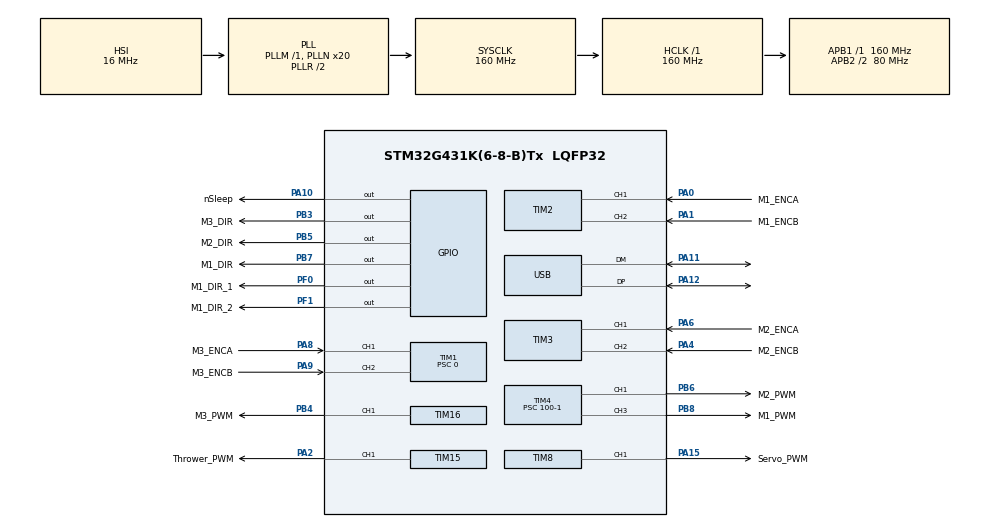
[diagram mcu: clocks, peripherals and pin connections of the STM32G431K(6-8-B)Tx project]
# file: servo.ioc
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Dma.Request0=TIM15_CH1
Dma.TIM15_CH1.0.Direction=DMA_MEMORY_TO_PERIPH
Dma.TIM15_CH1.0.EventEnable=DISABLE
Dma.TIM15_CH1.0.Instance=DMA1_Channel1
Dma.TIM15_CH1.0.MemDataAlignment=DMA_MDATAALIGN_WORD
Dma.TIM15_CH1.0.MemInc=DMA_MINC_ENABLE
Dma.TIM15_CH1.0.Mode=DMA_CIRCULAR
Dma.TIM15_CH1.0.PeriphDataAlignment=DMA_PDATAALIGN_WORD
Dma.TIM15_CH1.0.PeriphInc=DMA_PINC_DISABLE
Dma.TIM15_CH1.0.Polarity=HAL_DMAMUX_REQ_GEN_RISING
Dma.TIM15_CH1.0.Priority=DMA_PRIORITY_HIGH
Dma.TIM15_CH1.0.RequestNumber=1
Dma.TIM15_CH1.0.SignalID=NONE
Dma.TIM15_CH1.0.SyncEnable=DISABLE
Dma.TIM15_CH1.0.SyncPolarity=HAL_DMAMUX_SYNC_NO_EVENT
Dma.TIM15_CH1.0.SyncRequestNumber=1
Dma.TIM15_CH1.0.SyncSignalID=NONE
Mcu.Family=STM32G4
Mcu.Name=STM32G431K(6-8-B)Tx
Mcu.Package=LQFP32
NVIC.DMA1_Channel1_IRQn=true\:0\:0\:false\:false\:true\:false\:true\:true
NVIC.PriorityGroup=NVIC_PRIORITYGROUP_4
NVIC.TIM6_DAC_IRQn=true\:0\:0\:false\:false\:true\:true\:true\:true
NVIC.USB_LP_IRQn=true\:0\:0\:false\:false\:true\:false\:true\:true
PA0.GPIO_Label=M1_ENCA
PA0.Signal=S_TIM2_CH1
PA1.GPIO_Label=M1_ENCB
PA1.Signal=S_TIM2_CH2
PA10.GPIO_Label=nSleep
PA10.Signal=GPIO_Output
PA11.Mode=Device
PA11.Signal=USB_DM
PA12.Mode=Device
PA12.Signal=USB_DP
PA13.GPIO_Label=T_SWDIO
PA13.Mode=Serial_Wire
PA13.Signal=SYS_JTMS-SWDIO
PA14.GPIO_Label=T_SWCLK
PA14.Mode=Serial_Wire
PA14.Signal=SYS_JTCK-SWCLK
PA15.GPIO_Label=Servo_PWM
PA15.Signal=S_TIM8_CH1
PA2.GPIO_Label=Thrower_PWM
PA2.Signal=S_TIM15_CH1
PA4.GPIO_Label=M2_ENCB
PA4.Signal=S_TIM3_CH2
PA6.GPIO_Label=M2_ENCA
PA6.Signal=S_TIM3_CH1
PA8.GPIO_Label=M3_ENCA
PA8.Signal=S_TIM1_CH1
PA9.GPIO_Label=M3_ENCB
PA9.Signal=S_TIM1_CH2
PB3.GPIO_Label=M3_DIR
PB3.Signal=GPIO_Output
PB4.GPIO_Label=M3_PWM
PB4.Signal=S_TIM16_CH1
PB5.GPIO_Label=M2_DIR
PB5.Signal=GPIO_Output
PB6.GPIO_Label=M2_PWM
PB6.Signal=S_TIM4_CH1
PB7.GPIO_Label=M1_DIR
PB7.Signal=GPIO_Output
PB8-BOOT0.GPIO_Label=M1_PWM
PB8-BOOT0.Signal=S_TIM4_CH3
PF0-OSC_IN.GPIO_Label=M1_DIR_1
PF0-OSC_IN.Signal=GPIO_Output
PF1-OSC_OUT.GPIO_Label=M1_DIR_2
PF1-OSC_OUT.Signal=GPIO_Output
ProjectManager.HeapSize=0x200
ProjectManager.StackSize=0x400
ProjectManager.TargetToolchain=STM32CubeIDE
RCC.ADC12Freq_Value=160000000
RCC.AHBFreq_Value=160000000
RCC.APB1Freq_Value=160000000
RCC.APB1TimFreq_Value=160000000
RCC.APB2CLKDivider=RCC_HCLK_DIV2
RCC.APB2Freq_Value=80000000
RCC.APB2TimFreq_Value=160000000
RCC.CK48CLockSelection=RCC_USBCLKSOURCE_HSI48
RCC.CortexFreq_Value=160000000
RCC.EXTERNAL_CLOCK_VALUE=12288000
RCC.HCLKFreq_Value=160000000
RCC.HSE_VALUE=8000000
RCC.HSI48_VALUE=48000000
RCC.HSI_VALUE=16000000
RCC.LSE_VALUE=32768
RCC.PLLN=20
RCC.PLLQ=RCC_PLLQ_DIV4
RCC.SYSCLKFreq_VALUE=160000000
RCC.SYSCLKSource=RCC_SYSCLKSOURCE_PLLCLK
RCC.USBFreq_Value=48000000
RCC.VCOOutputFreq_Value=320000000
SH.S_TIM15_CH1.0=TIM15_CH1,PWM Generation1 CH1
SH.S_TIM16_CH1.0=TIM16_CH1,PWM Generation1 CH1
SH.S_TIM1_CH1.0=TIM1_CH1,Encoder_Interface
SH.S_TIM1_CH2.0=TIM1_CH2,Encoder_Interface
SH.S_TIM2_CH1.0=TIM2_CH1,Encoder_Interface
SH.S_TIM2_CH2.0=TIM2_CH2,Encoder_Interface
SH.S_TIM3_CH1.0=TIM3_CH1,Encoder_Interface
SH.S_TIM3_CH2.0=TIM3_CH2,Encoder_Interface
SH.S_TIM4_CH1.0=TIM4_CH1,PWM Generation1 CH1
SH.S_TIM4_CH3.0=TIM4_CH3,PWM Generation3 CH3
SH.S_TIM8_CH1.0=TIM8_CH1,PWM Generation1 CH1
TIM1.EncoderMode=TIM_ENCODERMODE_TI12
TIM1.Prescaler=0
TIM15.Channel-PWM\ Generation1\ CH1=TIM_CHANNEL_1
TIM15.PeriodNoDither=100-1
TIM15.Prescaler=10-1
TIM16.Channel=TIM_CHANNEL_1
TIM16.PeriodNoDither=100
TIM16.Prescaler=100-1
TIM2.EncoderMode=TIM_ENCODERMODE_TI12
TIM3.EncoderMode=TIM_ENCODERMODE_TI12
TIM4.Channel-PWM\ Generation1\ CH1=TIM_CHANNEL_1
TIM4.Channel-PWM\ Generation3\ CH3=TIM_CHANNEL_3
TIM4.PeriodNoDither=100
TIM4.Prescaler=100-1
TIM6.AutoReloadPreload=TIM_AUTORELOAD_PRELOAD_ENABLE
TIM6.PeriodNoDither=1000
TIM6.Prescaler=32000
TIM6.TIM_MasterOutputTrigger=TIM_TRGO_RESET
TIM8.Channel-PWM\ Generation1\ CH1=TIM_CHANNEL_1
TIM8.PeriodNoDither=100-1
TIM8.Prescaler=10-1
USB_DEVICE.CLASS_NAME_FS=CUSTOM_HID
USB_DEVICE.USBD_CUSTOMHID_OUTREPORT_BUF_SIZE=64
USB_DEVICE.USBD_CUSTOM_HID_REPORT_DESC_SIZE=43
USB_DEVICE.VirtualMode=CustomHid
USB_DEVICE.VirtualModeFS=Custom_Hid_FS
VP_TIM16_VS_ClockSourceINT.Mode=Enable_Timer
VP_TIM6_VS_ClockSourceINT.Mode=Enable_Timer
VP_USB_DEVICE_VS_USB_DEVICE_CUSTOM_HID_FS.Mode=CUSTOM_HID_FS
board=NUCLEO-G431KB

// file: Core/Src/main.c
/* USER CODE BEGIN Header */
/**
  ******************************************************************************
  * @file           : main.c
  * @brief          : Main program body
  ******************************************************************************
  * @attention
  *
  * Copyright (c) 2022 STMicroelectronics.
  * All rights reserved.
  *
  * This software is licensed under terms that can be found in the LICENSE file
  * in the root directory of this software component.
  * If no LICENSE file comes with this software, it is provided AS-IS.
  *
  ******************************************************************************
  */
/* USER CODE END Header */
#include "main.h"

/* USER CODE BEGIN Includes */
#include "PID.h"
/* USER CODE END Includes */

/* USER CODE BEGIN PTD */
#ifdef DEBUG
struct Data {
    int8_t A, B, C, D;
};
struct DataA {
    int8_t addr;
    int32_t A, B, C;
};
#endif

typedef struct MotorTypeDef{
    TIM_HandleTypeDef* timer;
    TIM_HandleTypeDef* encoder;
    int32_t timerChanel;
    int32_t dirPin;
} Motor;
/* USER CODE END PTD */

TIM_HandleTypeDef htim1;
TIM_HandleTypeDef htim2;
TIM_HandleTypeDef htim3;
TIM_HandleTypeDef htim4;
TIM_HandleTypeDef htim6;
TIM_HandleTypeDef htim8;
TIM_HandleTypeDef htim15;
TIM_HandleTypeDef htim16;
DMA_HandleTypeDef hdma_tim15_ch1;

/* USER CODE BEGIN PV */
volatile uint16_t DT = 0;
volatile int8_t motor_new = 0;
volatile int8_t motorSpeeds[3];

extern USBD_HandleTypeDef hUsbDeviceFS;

PIDConfig config = {4000, 100, 0, -UINT16_MAX, UINT16_MAX};
PIDState states[3] = {{.config=&config}, {.config=&config}, {.config=&config}};

uint32_t motor[DSHOT_FRAME_SIZE];// duty cycles array
Motor motors[3] = {
        {&htim4,  &htim2, TIM_CHANNEL_3, M1_DIR_Pin},
        {&htim4,  &htim1, TIM_CHANNEL_1, M2_DIR_Pin},
        {&htim16, &htim3, TIM_CHANNEL_1, M3_DIR_Pin}
};

int32_t dc[3];
int16_t enc_val_prev[3];
/* USER CODE END PV */

void SystemClock_Config(void);
static void MX_GPIO_Init(void);
static void MX_DMA_Init(void);
static void MX_TIM1_Init(void);
static void MX_TIM2_Init(void);
static void MX_TIM16_Init(void);
static void MX_TIM3_Init(void);
static void MX_TIM4_Init(void);
static void MX_TIM8_Init(void);
static void MX_TIM6_Init(void);
static void MX_TIM15_Init(void);
/* USER CODE BEGIN PFP */

void HAL_TIM_PeriodElapsedCallback(TIM_HandleTypeDef *htim) {
    if(htim == &htim6) {
        for(char i = 0; i < 3; i++) {
            int16_t counts_now = (int16_t)motors[i].encoder->Instance->CNT;
            dc[i] = counts_now - enc_val_prev[i];
            enc_val_prev[i] = counts_now;
            updatePIDState(&states[i], dc[i], motorSpeeds[i]);

            int32_t control = calculateOutput(&states[i]);

            __HAL_TIM_SET_COMPARE(motors[i].timer, motors[i].timerChanel, abs(control));
            HAL_GPIO_WritePin(GPIOB, motors[i].dirPin,control<0);
        }
    }
}
uint32_t DWT_Delay_Init(void)
{
    /* Disable TRC */
    CoreDebug->DEMCR &= ~CoreDebug_DEMCR_TRCENA_Msk; // ~0x01000000;
    /* Enable TRC */
    CoreDebug->DEMCR |=  CoreDebug_DEMCR_TRCENA_Msk; // 0x01000000;

    /* Disable clock cycle counter */
    DWT->CTRL &= ~DWT_CTRL_CYCCNTENA_Msk; //~0x00000001;
    /* Enable  clock cycle counter */
    DWT->CTRL |=  DWT_CTRL_CYCCNTENA_Msk; //0x00000001;

    /* Reset the clock cycle counter value */
    DWT->CYCCNT = 0;

    /* 3 NO OPERATION instructions */
    __ASM volatile ("NOP");
    __ASM volatile ("NOP");
    __ASM volatile ("NOP");

    /* Check if clock cycle counter has started */
    if(DWT->CYCCNT)
    {
        return 0; /*clock cycle counter started*/
    }
    else
    {
        return 1; /*clock cycle counter not started*/
    }
}
__STATIC_INLINE void DWT_Delay_us(volatile uint32_t au32_microseconds)
{
    uint32_t au32_initial_ticks = DWT->CYCCNT;
    uint32_t au32_ticks = (HAL_RCC_GetHCLKFreq() / 1000000);
    au32_microseconds *= au32_ticks;
    while ((DWT->CYCCNT - au32_initial_ticks) < au32_microseconds-au32_ticks);
}
/* USER CODE END PFP */

/* USER CODE BEGIN 0 */

//extern volatile uint16_t DT;
/* USER CODE END 0 */

int main(void)
{

  /* MCU Configuration--------------------------------------------------------*/

  /* Reset of all peripherals, Initializes the Flash interface and the Systick. */
  HAL_Init();

  /* Configure the system clock */
  SystemClock_Config();

  /* Initialize all configured peripherals */
  MX_GPIO_Init();
  MX_DMA_Init();
  MX_TIM1_Init();
  MX_USB_Device_Init();
  MX_TIM2_Init();
  MX_TIM16_Init();
  MX_TIM3_Init();
  MX_TIM4_Init();
  MX_TIM8_Init();
  MX_TIM6_Init();
  MX_TIM15_Init();

  /* Infinite loop */
  /* USER CODE BEGIN WHILE */

    DWT_Delay_Init();

    //Start for thrower 0 data for 2s to start ESC
    dshot600(motor, 0);
    HAL_TIM_PWM_Start_DMA(&htim15, TIM_CHANNEL_1, motor, DSHOT_FRAME_SIZE);
    HAL_Delay(2000);
    dshot600(motor, 100); //Set speed to 100 do disable sleep
    HAL_Delay(1000);

    HAL_TIM_Encoder_Start(&htim1, TIM_CHANNEL_ALL);
    HAL_TIM_Encoder_Start(&htim2, TIM_CHANNEL_ALL);
    HAL_TIM_Encoder_Start(&htim3, TIM_CHANNEL_ALL);

    HAL_GPIO_WritePin(nSleep_GPIO_Port, nSleep_Pin, 1);

    HAL_TIM_PWM_Start(&htim4, TIM_CHANNEL_3);
    HAL_TIM_PWM_Start(&htim4, TIM_CHANNEL_1);
    HAL_TIM_PWM_Start(&htim16, TIM_CHANNEL_1);

    __HAL_TIM_SET_COMPARE(&htim4, TIM_CHANNEL_3, 0);
    __HAL_TIM_SET_COMPARE(&htim4, TIM_CHANNEL_1, 0);
    __HAL_TIM_SET_COMPARE(&htim16, TIM_CHANNEL_1, 0);

    HAL_TIM_Base_Start_IT(&htim6);

#pragma clang diagnostic push
#pragma ide diagnostic ignored "EndlessLoop"
    while (1) {
        if (DT != 0) {
            dshot600(motor, DT);
            HAL_TIM_PWM_Start_DMA(&htim15, TIM_CHANNEL_1, motor, DSHOT_FRAME_SIZE);
            DT = 0;
            HAL_Delay(100);
        }
        if(motor_new){
            motor_new = 0;
            HAL_GPIO_WritePin(nSleep_GPIO_Port, nSleep_Pin, 0);
            DWT_Delay_us(30);
            HAL_GPIO_WritePin(nSleep_GPIO_Port, nSleep_Pin, 1);
        }
    /* USER CODE END WHILE */

    /* USER CODE BEGIN 3 */
    }
#pragma clang diagnostic pop
  /* USER CODE END 3 */
}

void SystemClock_Config(void)
{
  RCC_OscInitTypeDef RCC_OscInitStruct = {0};
  RCC_ClkInitTypeDef RCC_ClkInitStruct = {0};

  /** Configure the main internal regulator output voltage
  */
  HAL_PWREx_ControlVoltageScaling(PWR_REGULATOR_VOLTAGE_SCALE1_BOOST);

  /** Initializes the RCC Oscillators according to the specified parameters
  * in the RCC_OscInitTypeDef structure.
  */
  RCC_OscInitStruct.OscillatorType = RCC_OSCILLATORTYPE_HSI|RCC_OSCILLATORTYPE_HSI48;
  RCC_OscInitStruct.HSIState = RCC_HSI_ON;
  RCC_OscInitStruct.HSICalibrationValue = RCC_HSICALIBRATION_DEFAULT;
  RCC_OscInitStruct.HSI48State = RCC_HSI48_ON;
  RCC_OscInitStruct.PLL.PLLState = RCC_PLL_ON;
  RCC_OscInitStruct.PLL.PLLSource = RCC_PLLSOURCE_HSI;
  RCC_OscInitStruct.PLL.PLLM = RCC_PLLM_DIV1;
  RCC_OscInitStruct.PLL.PLLN = 20;
  RCC_OscInitStruct.PLL.PLLP = RCC_PLLP_DIV2;
  RCC_OscInitStruct.PLL.PLLQ = RCC_PLLQ_DIV4;
  RCC_OscInitStruct.PLL.PLLR = RCC_PLLR_DIV2;
  if (HAL_RCC_OscConfig(&RCC_OscInitStruct) != HAL_OK)
  {
    Error_Handler();
  }

  /** Initializes the CPU, AHB and APB buses clocks
  */
  RCC_ClkInitStruct.ClockType = RCC_CLOCKTYPE_HCLK|RCC_CLOCKTYPE_SYSCLK
                              |RCC_CLOCKTYPE_PCLK1|RCC_CLOCKTYPE_PCLK2;
  RCC_ClkInitStruct.SYSCLKSource = RCC_SYSCLKSOURCE_PLLCLK;
  RCC_ClkInitStruct.AHBCLKDivider = RCC_SYSCLK_DIV1;
  RCC_ClkInitStruct.APB1CLKDivider = RCC_HCLK_DIV1;
  RCC_ClkInitStruct.APB2CLKDivider = RCC_HCLK_DIV2;

  if (HAL_RCC_ClockConfig(&RCC_ClkInitStruct, FLASH_LATENCY_4) != HAL_OK)
  {
    Error_Handler();
  }
}

static void MX_TIM1_Init(void)
{

  TIM_Encoder_InitTypeDef sConfig = {0};
  TIM_MasterConfigTypeDef sMasterConfig = {0};

  htim1.Instance = TIM1;
  htim1.Init.Prescaler = 0;
  htim1.Init.CounterMode = TIM_COUNTERMODE_UP;
  htim1.Init.Period = 65535;
  htim1.Init.ClockDivision = TIM_CLOCKDIVISION_DIV1;
  htim1.Init.RepetitionCounter = 0;
  htim1.Init.AutoReloadPreload = TIM_AUTORELOAD_PRELOAD_DISABLE;
  sConfig.EncoderMode = TIM_ENCODERMODE_TI12;
  sConfig.IC1Polarity = TIM_ICPOLARITY_RISING;
  sConfig.IC1Selection = TIM_ICSELECTION_DIRECTTI;
  sConfig.IC1Prescaler = TIM_ICPSC_DIV1;
  sConfig.IC1Filter = 0;
  sConfig.IC2Polarity = TIM_ICPOLARITY_RISING;
  sConfig.IC2Selection = TIM_ICSELECTION_DIRECTTI;
  sConfig.IC2Prescaler = TIM_ICPSC_DIV1;
  sConfig.IC2Filter = 0;
  if (HAL_TIM_Encoder_Init(&htim1, &sConfig) != HAL_OK)
  {
    Error_Handler();
  }
  sMasterConfig.MasterOutputTrigger = TIM_TRGO_RESET;
  sMasterConfig.MasterOutputTrigger2 = TIM_TRGO2_RESET;
  sMasterConfig.MasterSlaveMode = TIM_MASTERSLAVEMODE_DISABLE;
  if (HAL_TIMEx_MasterConfigSynchronization(&htim1, &sMasterConfig) != HAL_OK)
  {
    Error_Handler();
  }

}

static void MX_TIM2_Init(void)
{

  TIM_Encoder_InitTypeDef sConfig = {0};
  TIM_MasterConfigTypeDef sMasterConfig = {0};

  htim2.Instance = TIM2;
  htim2.Init.Prescaler = 0;
  htim2.Init.CounterMode = TIM_COUNTERMODE_UP;
  htim2.Init.Period = 65535;
  htim2.Init.ClockDivision = TIM_CLOCKDIVISION_DIV1;
  htim2.Init.AutoReloadPreload = TIM_AUTORELOAD_PRELOAD_DISABLE;
  sConfig.EncoderMode = TIM_ENCODERMODE_TI12;
  sConfig.IC1Polarity = TIM_ICPOLARITY_RISING;
  sConfig.IC1Selection = TIM_ICSELECTION_DIRECTTI;
  sConfig.IC1Prescaler = TIM_ICPSC_DIV1;
  sConfig.IC1Filter = 0;
  sConfig.IC2Polarity = TIM_ICPOLARITY_RISING;
  sConfig.IC2Selection = TIM_ICSELECTION_DIRECTTI;
  sConfig.IC2Prescaler = TIM_ICPSC_DIV1;
  sConfig.IC2Filter = 0;
  if (HAL_TIM_Encoder_Init(&htim2, &sConfig) != HAL_OK)
  {
    Error_Handler();
  }
  sMasterConfig.MasterOutputTrigger = TIM_TRGO_RESET;
  sMasterConfig.MasterSlaveMode = TIM_MASTERSLAVEMODE_DISABLE;
  if (HAL_TIMEx_MasterConfigSynchronization(&htim2, &sMasterConfig) != HAL_OK)
  {
    Error_Handler();
  }

}

static void MX_TIM3_Init(void)
{

  TIM_Encoder_InitTypeDef sConfig = {0};
  TIM_MasterConfigTypeDef sMasterConfig = {0};

  htim3.Instance = TIM3;
  htim3.Init.Prescaler = 0;
  htim3.Init.CounterMode = TIM_COUNTERMODE_UP;
  htim3.Init.Period = 65535;
  htim3.Init.ClockDivision = TIM_CLOCKDIVISION_DIV1;
  htim3.Init.AutoReloadPreload = TIM_AUTORELOAD_PRELOAD_DISABLE;
  sConfig.EncoderMode = TIM_ENCODERMODE_TI12;
  sConfig.IC1Polarity = TIM_ICPOLARITY_RISING;
  sConfig.IC1Selection = TIM_ICSELECTION_DIRECTTI;
  sConfig.IC1Prescaler = TIM_ICPSC_DIV1;
  sConfig.IC1Filter = 0;
  sConfig.IC2Polarity = TIM_ICPOLARITY_RISING;
  sConfig.IC2Selection = TIM_ICSELECTION_DIRECTTI;
  sConfig.IC2Prescaler = TIM_ICPSC_DIV1;
  sConfig.IC2Filter = 0;
  if (HAL_TIM_Encoder_Init(&htim3, &sConfig) != HAL_OK)
  {
    Error_Handler();
  }
  sMasterConfig.MasterOutputTrigger = TIM_TRGO_RESET;
  sMasterConfig.MasterSlaveMode = TIM_MASTERSLAVEMODE_DISABLE;
  if (HAL_TIMEx_MasterConfigSynchronization(&htim3, &sMasterConfig) != HAL_OK)
  {
    Error_Handler();
  }

}

static void MX_TIM4_Init(void)
{

  TIM_MasterConfigTypeDef sMasterConfig = {0};
  TIM_OC_InitTypeDef sConfigOC = {0};

  htim4.Instance = TIM4;
  htim4.Init.Prescaler = 0;
  htim4.Init.CounterMode = TIM_COUNTERMODE_UP;
  htim4.Init.Period = 65535;
  htim4.Init.ClockDivision = TIM_CLOCKDIVISION_DIV1;
  htim4.Init.AutoReloadPreload = TIM_AUTORELOAD_PRELOAD_DISABLE;
  if (HAL_TIM_PWM_Init(&htim4) != HAL_OK)
  {
    Error_Handler();
  }
  sMasterConfig.MasterOutputTrigger = TIM_TRGO_RESET;
  sMasterConfig.MasterSlaveMode = TIM_MASTERSLAVEMODE_DISABLE;
  if (HAL_TIMEx_MasterConfigSynchronization(&htim4, &sMasterConfig) != HAL_OK)
  {
    Error_Handler();
  }
  sConfigOC.OCMode = TIM_OCMODE_PWM1;
  sConfigOC.Pulse = 0;
  sConfigOC.OCPolarity = TIM_OCPOLARITY_HIGH;
  sConfigOC.OCFastMode = TIM_OCFAST_DISABLE;
  if (HAL_TIM_PWM_ConfigChannel(&htim4, &sConfigOC, TIM_CHANNEL_1) != HAL_OK)
  {
    Error_Handler();
  }
  if (HAL_TIM_PWM_ConfigChannel(&htim4, &sConfigOC, TIM_CHANNEL_3) != HAL_OK)
  {
    Error_Handler();
  }
  HAL_TIM_MspPostInit(&htim4);

}

static void MX_TIM6_Init(void)
{

  TIM_MasterConfigTypeDef sMasterConfig = {0};

  htim6.Instance = TIM6;
  htim6.Init.Prescaler = 8000-1;
  htim6.Init.CounterMode = TIM_COUNTERMODE_UP;
  htim6.Init.Period = 99;
  htim6.Init.AutoReloadPreload = TIM_AUTORELOAD_PRELOAD_ENABLE;
  if (HAL_TIM_Base_Init(&htim6) != HAL_OK)
  {
    Error_Handler();
  }
  sMasterConfig.MasterOutputTrigger = TIM_TRGO_RESET;
  sMasterConfig.MasterSlaveMode = TIM_MASTERSLAVEMODE_DISABLE;
  if (HAL_TIMEx_MasterConfigSynchronization(&htim6, &sMasterConfig) != HAL_OK)
  {
    Error_Handler();
  }

}

static void MX_TIM8_Init(void)
{

  TIM_MasterConfigTypeDef sMasterConfig = {0};
  TIM_OC_InitTypeDef sConfigOC = {0};
  TIM_BreakDeadTimeConfigTypeDef sBreakDeadTimeConfig = {0};

  htim8.Instance = TIM8;
  htim8.Init.Prescaler = 10-1;
  htim8.Init.CounterMode = TIM_COUNTERMODE_UP;
  htim8.Init.Period = 99;
  htim8.Init.ClockDivision = TIM_CLOCKDIVISION_DIV1;
  htim8.Init.RepetitionCounter = 0;
  htim8.Init.AutoReloadPreload = TIM_AUTORELOAD_PRELOAD_DISABLE;
  if (HAL_TIM_PWM_Init(&htim8) != HAL_OK)
  {
    Error_Handler();
  }
  sMasterConfig.MasterOutputTrigger = TIM_TRGO_RESET;
  sMasterConfig.MasterOutputTrigger2 = TIM_TRGO2_RESET;
  sMasterConfig.MasterSlaveMode = TIM_MASTERSLAVEMODE_DISABLE;
  if (HAL_TIMEx_MasterConfigSynchronization(&htim8, &sMasterConfig) != HAL_OK)
  {
    Error_Handler();
  }
  sConfigOC.OCMode = TIM_OCMODE_PWM1;
  sConfigOC.Pulse = 0;
  sConfigOC.OCPolarity = TIM_OCPOLARITY_HIGH;
  sConfigOC.OCNPolarity = TIM_OCNPOLARITY_HIGH;
  sConfigOC.OCFastMode = TIM_OCFAST_DISABLE;
  sConfigOC.OCIdleState = TIM_OCIDLESTATE_RESET;
  sConfigOC.OCNIdleState = TIM_OCNIDLESTATE_RESET;
  if (HAL_TIM_PWM_ConfigChannel(&htim8, &sConfigOC, TIM_CHANNEL_1) != HAL_OK)
  {
    Error_Handler();
  }
  sBreakDeadTimeConfig.OffStateRunMode = TIM_OSSR_DISABLE;
  sBreakDeadTimeConfig.OffStateIDLEMode = TIM_OSSI_DISABLE;
  sBreakDeadTimeConfig.LockLevel = TIM_LOCKLEVEL_OFF;
  sBreakDeadTimeConfig.DeadTime = 0;
  sBreakDeadTimeConfig.BreakState = TIM_BREAK_DISABLE;
  sBreakDeadTimeConfig.BreakPolarity = TIM_BREAKPOLARITY_HIGH;
  sBreakDeadTimeConfig.BreakFilter = 0;
  sBreakDeadTimeConfig.BreakAFMode = TIM_BREAK_AFMODE_INPUT;
  sBreakDeadTimeConfig.Break2State = TIM_BREAK2_DISABLE;
  sBreakDeadTimeConfig.Break2Polarity = TIM_BREAK2POLARITY_HIGH;
  sBreakDeadTimeConfig.Break2Filter = 0;
  sBreakDeadTimeConfig.Break2AFMode = TIM_BREAK_AFMODE_INPUT;
  sBreakDeadTimeConfig.AutomaticOutput = TIM_AUTOMATICOUTPUT_DISABLE;
  if (HAL_TIMEx_ConfigBreakDeadTime(&htim8, &sBreakDeadTimeConfig) != HAL_OK)
  {
    Error_Handler();
  }
  HAL_TIM_MspPostInit(&htim8);

}

static void MX_TIM15_Init(void)
{

  TIM_MasterConfigTypeDef sMasterConfig = {0};
  TIM_OC_InitTypeDef sConfigOC = {0};
  TIM_BreakDeadTimeConfigTypeDef sBreakDeadTimeConfig = {0};

  htim15.Instance = TIM15;
  htim15.Init.Prescaler = 10-1;
  htim15.Init.CounterMode = TIM_COUNTERMODE_UP;
  htim15.Init.Period = 99;
  htim15.Init.ClockDivision = TIM_CLOCKDIVISION_DIV1;
  htim15.Init.RepetitionCounter = 0;
  htim15.Init.AutoReloadPreload = TIM_AUTORELOAD_PRELOAD_DISABLE;
  if (HAL_TIM_PWM_Init(&htim15) != HAL_OK)
  {
    Error_Handler();
  }
  sMasterConfig.MasterOutputTrigger = TIM_TRGO_RESET;
  sMasterConfig.MasterSlaveMode = TIM_MASTERSLAVEMODE_DISABLE;
  if (HAL_TIMEx_MasterConfigSynchronization(&htim15, &sMasterConfig) != HAL_OK)
  {
    Error_Handler();
  }
  sConfigOC.OCMode = TIM_OCMODE_PWM1;
  sConfigOC.Pulse = 0;
  sConfigOC.OCPolarity = TIM_OCPOLARITY_HIGH;
  sConfigOC.OCNPolarity = TIM_OCNPOLARITY_HIGH;
  sConfigOC.OCFastMode = TIM_OCFAST_DISABLE;
  sConfigOC.OCIdleState = TIM_OCIDLESTATE_RESET;
  sConfigOC.OCNIdleState = TIM_OCNIDLESTATE_RESET;
  if (HAL_TIM_PWM_ConfigChannel(&htim15, &sConfigOC, TIM_CHANNEL_1) != HAL_OK)
  {
    Error_Handler();
  }
  sBreakDeadTimeConfig.OffStateRunMode = TIM_OSSR_DISABLE;
  sBreakDeadTimeConfig.OffStateIDLEMode = TIM_OSSI_DISABLE;
  sBreakDeadTimeConfig.LockLevel = TIM_LOCKLEVEL_OFF;
  sBreakDeadTimeConfig.DeadTime = 0;
  sBreakDeadTimeConfig.BreakState = TIM_BREAK_DISABLE;
  sBreakDeadTimeConfig.BreakPolarity = TIM_BREAKPOLARITY_HIGH;
  sBreakDeadTimeConfig.BreakFilter = 0;
  sBreakDeadTimeConfig.AutomaticOutput = TIM_AUTOMATICOUTPUT_DISABLE;
  if (HAL_TIMEx_ConfigBreakDeadTime(&htim15, &sBreakDeadTimeConfig) != HAL_OK)
  {
    Error_Handler();
  }
  HAL_TIM_MspPostInit(&htim15);

}

static void MX_TIM16_Init(void)
{

  TIM_OC_InitTypeDef sConfigOC = {0};
  TIM_BreakDeadTimeConfigTypeDef sBreakDeadTimeConfig = {0};

  htim16.Instance = TIM16;
  htim16.Init.Prescaler = 0;
  htim16.Init.CounterMode = TIM_COUNTERMODE_UP;
  htim16.Init.Period = 65535;
  htim16.Init.ClockDivision = TIM_CLOCKDIVISION_DIV1;
  htim16.Init.RepetitionCounter = 0;
  htim16.Init.AutoReloadPreload = TIM_AUTORELOAD_PRELOAD_DISABLE;
  if (HAL_TIM_Base_Init(&htim16) != HAL_OK)
  {
    Error_Handler();
  }
  if (HAL_TIM_PWM_Init(&htim16) != HAL_OK)
  {
    Error_Handler();
  }
  sConfigOC.OCMode = TIM_OCMODE_PWM1;
  sConfigOC.Pulse = 0;
  sConfigOC.OCPolarity = TIM_OCPOLARITY_HIGH;
  sConfigOC.OCNPolarity = TIM_OCNPOLARITY_HIGH;
  sConfigOC.OCFastMode = TIM_OCFAST_DISABLE;
  sConfigOC.OCIdleState = TIM_OCIDLESTATE_RESET;
  sConfigOC.OCNIdleState = TIM_OCNIDLESTATE_RESET;
  if (HAL_TIM_PWM_ConfigChannel(&htim16, &sConfigOC, TIM_CHANNEL_1) != HAL_OK)
  {
    Error_Handler();
  }
  sBreakDeadTimeConfig.OffStateRunMode = TIM_OSSR_DISABLE;
  sBreakDeadTimeConfig.OffStateIDLEMode = TIM_OSSI_DISABLE;
  sBreakDeadTimeConfig.LockLevel = TIM_LOCKLEVEL_OFF;
  sBreakDeadTimeConfig.DeadTime = 0;
  sBreakDeadTimeConfig.BreakState = TIM_BREAK_DISABLE;
  sBreakDeadTimeConfig.BreakPolarity = TIM_BREAKPOLARITY_HIGH;
  sBreakDeadTimeConfig.BreakFilter = 0;
  sBreakDeadTimeConfig.AutomaticOutput = TIM_AUTOMATICOUTPUT_DISABLE;
  if (HAL_TIMEx_ConfigBreakDeadTime(&htim16, &sBreakDeadTimeConfig) != HAL_OK)
  {
    Error_Handler();
  }
  HAL_TIM_MspPostInit(&htim16);

}

static void MX_DMA_Init(void)
{

  /* DMA controller clock enable */
  __HAL_RCC_DMAMUX1_CLK_ENABLE();
  __HAL_RCC_DMA1_CLK_ENABLE();

  /* DMA interrupt init */
  /* DMA1_Channel1_IRQn interrupt configuration */
  HAL_NVIC_SetPriority(DMA1_Channel1_IRQn, 0, 0);
  HAL_NVIC_EnableIRQ(DMA1_Channel1_IRQn);

}

static void MX_GPIO_Init(void)
{
  GPIO_InitTypeDef GPIO_InitStruct = {0};

  /* GPIO Ports Clock Enable */
  __HAL_RCC_GPIOF_CLK_ENABLE();
  __HAL_RCC_GPIOA_CLK_ENABLE();
  __HAL_RCC_GPIOB_CLK_ENABLE();

  /*Configure GPIO pin Output Level */
  HAL_GPIO_WritePin(GPIOF, M1_DIR_1_Pin|M1_DIR_2_Pin, GPIO_PIN_RESET);

  /*Configure GPIO pin Output Level */
  HAL_GPIO_WritePin(nSleep_GPIO_Port, nSleep_Pin, GPIO_PIN_RESET);

  /*Configure GPIO pin Output Level */
  HAL_GPIO_WritePin(GPIOB, M3_DIR_Pin|M2_DIR_Pin|M1_DIR_Pin, GPIO_PIN_RESET);

  /*Configure GPIO pins : M1_DIR_1_Pin M1_DIR_2_Pin */
  GPIO_InitStruct.Pin = M1_DIR_1_Pin|M1_DIR_2_Pin;
  GPIO_InitStruct.Mode = GPIO_MODE_OUTPUT_PP;
  GPIO_InitStruct.Pull = GPIO_NOPULL;
  GPIO_InitStruct.Speed = GPIO_SPEED_FREQ_LOW;
  HAL_GPIO_Init(GPIOF, &GPIO_InitStruct);

  /*Configure GPIO pin : nSleep_Pin */
  GPIO_InitStruct.Pin = nSleep_Pin;
  GPIO_InitStruct.Mode = GPIO_MODE_OUTPUT_PP;
  GPIO_InitStruct.Pull = GPIO_NOPULL;
  GPIO_InitStruct.Speed = GPIO_SPEED_FREQ_LOW;
  HAL_GPIO_Init(nSleep_GPIO_Port, &GPIO_InitStruct);

  /*Configure GPIO pins : M3_DIR_Pin M2_DIR_Pin M1_DIR_Pin */
  GPIO_InitStruct.Pin = M3_DIR_Pin|M2_DIR_Pin|M1_DIR_Pin;
  GPIO_InitStruct.Mode = GPIO_MODE_OUTPUT_PP;
  GPIO_InitStruct.Pull = GPIO_NOPULL;
  GPIO_InitStruct.Speed = GPIO_SPEED_FREQ_LOW;
  HAL_GPIO_Init(GPIOB, &GPIO_InitStruct);

}

void Error_Handler(void)
{
  /* USER CODE BEGIN Error_Handler_Debug */
    /* User can add his own implementation to report the HAL error return state */
    __disable_irq();
    while (1) {
    return ;
    }
     /* USER CODE END Error_Handler_Debug */
}
